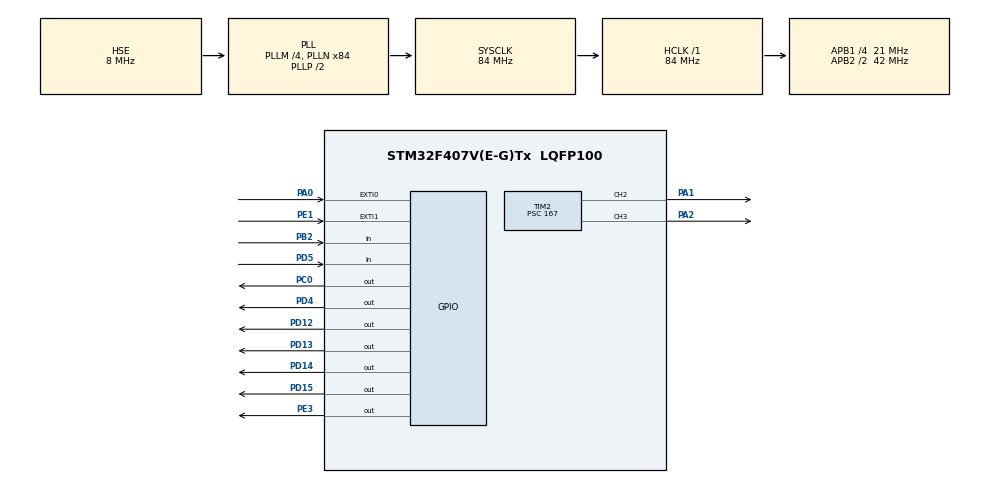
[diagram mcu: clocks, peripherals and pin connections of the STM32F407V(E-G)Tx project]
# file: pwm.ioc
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Mcu.Family=STM32F4
Mcu.Name=STM32F407V(E-G)Tx
Mcu.Package=LQFP100
NVIC.PriorityGroup=NVIC_PRIORITYGROUP_0
PA0-WKUP.GPIO_ModeDefaultEXTI=GPIO_MODE_IT_RISING
PA0-WKUP.GPIO_PuPd=GPIO_NOPULL
PA0-WKUP.Signal=GPXTI0
PA1.GPIO_ModeDefaultPP=GPIO_MODE_AF_PP
PA1.GPIO_PuPd=GPIO_NOPULL
PA1.GPIO_Speed=GPIO_SPEED_FREQ_LOW
PA1.Signal=S_TIM2_CH2
PA10.GPIO_Mode=GPIO_MODE_AF_PP
PA10.GPIO_PuPd=GPIO_NOPULL
PA10.GPIO_Speed=GPIO_SPEED_FREQ_VERY_HIGH
PA10.Signal=USB_OTG_FS_ID
PA11.GPIO_Mode=GPIO_MODE_AF_PP
PA11.GPIO_PuPd=GPIO_NOPULL
PA11.GPIO_Speed=GPIO_SPEED_FREQ_VERY_HIGH
PA11.Signal=USB_OTG_FS_DM
PA12.GPIO_Mode=GPIO_MODE_AF_PP
PA12.GPIO_PuPd=GPIO_NOPULL
PA12.GPIO_Speed=GPIO_SPEED_FREQ_VERY_HIGH
PA12.Signal=USB_OTG_FS_DP
PA13.Mode=Serial_Wire
PA13.Signal=SYS_JTMS-SWDIO
PA14.Mode=Serial_Wire
PA14.Signal=SYS_JTCK-SWCLK
PA2.GPIO_ModeDefaultPP=GPIO_MODE_AF_PP
PA2.GPIO_PuPd=GPIO_NOPULL
PA2.GPIO_Speed=GPIO_SPEED_FREQ_LOW
PA2.Signal=S_TIM2_CH3
PA4.GPIO_Mode=GPIO_MODE_AF_PP
PA4.GPIO_PuPd=GPIO_NOPULL
PA4.GPIO_Speed=GPIO_SPEED_FREQ_LOW
PA4.Signal=I2S3_WS
PA5.GPIO_Mode=GPIO_MODE_AF_PP
PA5.GPIO_PuPd=GPIO_NOPULL
PA5.GPIO_Speed=GPIO_SPEED_FREQ_VERY_HIGH
PA5.Signal=SPI1_SCK
PA6.GPIO_Mode=GPIO_MODE_AF_PP
PA6.GPIO_PuPd=GPIO_NOPULL
PA6.GPIO_Speed=GPIO_SPEED_FREQ_VERY_HIGH
PA6.Signal=SPI1_MISO
PA7.GPIO_Mode=GPIO_MODE_AF_PP
PA7.GPIO_PuPd=GPIO_NOPULL
PA7.GPIO_Speed=GPIO_SPEED_FREQ_VERY_HIGH
PA7.Signal=SPI1_MOSI
PA9.GPIO_Mode=GPIO_MODE_INPUT
PA9.GPIO_PuPd=GPIO_NOPULL
PA9.Signal=USB_OTG_FS_VBUS
PB10.GPIO_Mode=GPIO_MODE_AF_PP
PB10.GPIO_PuPd=GPIO_NOPULL
PB10.GPIO_Speed=GPIO_SPEED_FREQ_LOW
PB10.Signal=I2S2_CK
PB2.GPIO_Mode=GPIO_MODE_INPUT
PB2.GPIO_PuPd=GPIO_NOPULL
PB2.Signal=GPIO_Input
PB3.Signal=SYS_JTDO-SWO
PB6.GPIO_Mode=GPIO_MODE_AF_OD
PB6.GPIO_PuPd=GPIO_NOPULL
PB6.GPIO_PuPdOD=GPIO_PULLUP
PB6.GPIO_Speed=GPIO_SPEED_FREQ_VERY_HIGH
PB6.Signal=I2C1_SCL
PB9.GPIO_Mode=GPIO_MODE_AF_OD
PB9.GPIO_PuPd=GPIO_NOPULL
PB9.GPIO_PuPdOD=GPIO_PULLUP
PB9.GPIO_Speed=GPIO_SPEED_FREQ_VERY_HIGH
PB9.Signal=I2C1_SDA
PC0.GPIO_ModeDefaultOutputPP=GPIO_MODE_OUTPUT_PP
PC0.GPIO_PuPd=GPIO_NOPULL
PC0.GPIO_Speed=GPIO_SPEED_FREQ_LOW
PC0.PinState=GPIO_PIN_RESET
PC0.Signal=GPIO_Output
PC10.GPIO_Mode=GPIO_MODE_AF_PP
PC10.GPIO_PuPd=GPIO_NOPULL
PC10.GPIO_Speed=GPIO_SPEED_FREQ_LOW
PC10.Signal=I2S3_CK
PC12.GPIO_Mode=GPIO_MODE_AF_PP
PC12.GPIO_PuPd=GPIO_NOPULL
PC12.GPIO_Speed=GPIO_SPEED_FREQ_LOW
PC12.Signal=I2S3_SD
PC14-OSC32_IN.Signal=RCC_OSC32_IN
PC15-OSC32_OUT.Signal=RCC_OSC32_OUT
PC3.GPIO_Mode=GPIO_MODE_AF_PP
PC3.GPIO_PuPd=GPIO_NOPULL
PC3.GPIO_Speed=GPIO_SPEED_FREQ_LOW
PC3.Signal=I2S2_SD
PC7.GPIO_Mode=GPIO_MODE_AF_PP
PC7.GPIO_PuPd=GPIO_NOPULL
PC7.GPIO_Speed=GPIO_SPEED_FREQ_LOW
PC7.Signal=I2S3_MCK
PD12.GPIO_ModeDefaultOutputPP=GPIO_MODE_OUTPUT_PP
PD12.GPIO_PuPd=GPIO_NOPULL
PD12.GPIO_Speed=GPIO_SPEED_FREQ_LOW
PD12.PinState=GPIO_PIN_RESET
PD12.Signal=GPIO_Output
PD13.GPIO_ModeDefaultOutputPP=GPIO_MODE_OUTPUT_PP
PD13.GPIO_PuPd=GPIO_NOPULL
PD13.GPIO_Speed=GPIO_SPEED_FREQ_LOW
PD13.PinState=GPIO_PIN_RESET
PD13.Signal=GPIO_Output
PD14.GPIO_ModeDefaultOutputPP=GPIO_MODE_OUTPUT_PP
PD14.GPIO_PuPd=GPIO_NOPULL
PD14.GPIO_Speed=GPIO_SPEED_FREQ_LOW
PD14.PinState=GPIO_PIN_RESET
PD14.Signal=GPIO_Output
PD15.GPIO_ModeDefaultOutputPP=GPIO_MODE_OUTPUT_PP
PD15.GPIO_PuPd=GPIO_NOPULL
PD15.GPIO_Speed=GPIO_SPEED_FREQ_LOW
PD15.PinState=GPIO_PIN_RESET
PD15.Signal=GPIO_Output
PD4.GPIO_ModeDefaultOutputPP=GPIO_MODE_OUTPUT_PP
PD4.GPIO_PuPd=GPIO_NOPULL
PD4.GPIO_Speed=GPIO_SPEED_FREQ_LOW
PD4.PinState=GPIO_PIN_RESET
PD4.Signal=GPIO_Output
PD5.GPIO_Mode=GPIO_MODE_INPUT
PD5.GPIO_PuPd=GPIO_NOPULL
PD5.Signal=GPIO_Input
PE1.GPIO_ModeDefaultEXTI=GPIO_MODE_IT_RISING
PE1.GPIO_PuPd=GPIO_NOPULL
PE1.Signal=GPXTI1
PE3.GPIO_ModeDefaultOutputPP=GPIO_MODE_OUTPUT_PP
PE3.GPIO_PuPd=GPIO_NOPULL
PE3.GPIO_Speed=GPIO_SPEED_FREQ_LOW
PE3.PinState=GPIO_PIN_RESET
PE3.Signal=GPIO_Output
PH0-OSC_IN.Mode=HSE-External-Clock-Source
PH0-OSC_IN.Signal=RCC_OSC_IN
PH1-OSC_OUT.Mode=HSE-External-Clock-Source
PH1-OSC_OUT.Signal=RCC_OSC_OUT
ProjectManager.HeapSize=0x200
ProjectManager.StackSize=0x400
ProjectManager.TargetToolchain=MDK-ARM V5
RCC.48MHZClocksFreq_Value=24000000
RCC.AHBFreq_Value=84000000
RCC.APB1CLKDivider=RCC_HCLK_DIV4
RCC.APB1Freq_Value=21000000
RCC.APB1TimFreq_Value=42000000
RCC.APB2CLKDivider=RCC_HCLK_DIV2
RCC.APB2Freq_Value=42000000
RCC.APB2TimFreq_Value=84000000
RCC.CortexFreq_Value=84000000
RCC.HCLKFreq_Value=84000000
RCC.HSE_VALUE=8000000
RCC.HSI_VALUE=16000000
RCC.LSE_VALUE=32768
RCC.PLLM=4
RCC.PLLN=84
RCC.PLLQ=7
RCC.PLLSourceVirtual=RCC_PLLSOURCE_HSE
RCC.SYSCLKFreq_VALUE=84000000
RCC.SYSCLKSource=RCC_SYSCLKSOURCE_PLLCLK
RCC.VCOOutputFreq_Value=168000000
SH.S_TIM2_CH2.0=TIM2_CH2,PWM Generation2 CH2
SH.S_TIM2_CH3.0=TIM2_CH3,PWM Generation3 CH3
TIM2.Channel-PWM\ Generation2\ CH2=TIM_CHANNEL_2
TIM2.Channel-PWM\ Generation3\ CH3=TIM_CHANNEL_3
TIM2.Period=19999
TIM2.Prescaler=167
board=STM32F4DISCOVERY

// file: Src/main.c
/* USER CODE BEGIN Header */
/**
  ******************************************************************************
  * @file           : main.c
  * @brief          : Main program body
  ******************************************************************************
  * @attention
  *
  * <h2><center>&copy; Copyright (c) 2019 STMicroelectronics.
  * All rights reserved.</center></h2>
  *
  * This software component is licensed by ST under BSD 3-Clause license,
  * the "License"; You may not use this file except in compliance with the
  * License. You may obtain a copy of the License at:
  *                        opensource.org/licenses/BSD-3-Clause
  *
  ******************************************************************************
  */
/* USER CODE END Header */

#include "main.h"
#include "tim.h"
#include "gpio.h"

/* USER CODE BEGIN PD */
#define SERVO_180 20000
#define SERVO_0 1800
/* USER CODE END PD */

void SystemClock_Config(void);
/* USER CODE BEGIN PFP */
void turn_left(void);
void turn_right(void);
/* USER CODE END PFP */

/* USER CODE BEGIN 0 */
void set_pos(uint8_t pos) {
  uint32_t tmp=(SERVO_180 - SERVO_0) /180 ;
  TIM2->CCR2 = SERVO_0 + tmp * pos;
}

void set_pos2(uint8_t pos) {
  uint32_t tmp=(SERVO_180 - SERVO_0) /180 ;
  TIM2->CCR2 = SERVO_0 - tmp * pos;
}

void delay(void) {
  volatile uint32_t i;
  for (i=1; i != 0xFFFF; i++)
    ;
 }
/* USER CODE END 0 */

int main(void)
{

  /* MCU Configuration--------------------------------------------------------*/

  /* Reset of all peripherals, Initializes the Flash interface and the Systick. */
  HAL_Init();

  /* Configure the system clock */
  SystemClock_Config();

  /* Initialize all configured peripherals */
  MX_GPIO_Init();
  MX_TIM2_Init();
  /* USER CODE BEGIN 2 */
  HAL_TIM_PWM_Start(&htim2, TIM_CHANNEL_2);
  TIM2->CCR2 = 0;
  HAL_Delay(1000);
  /* USER CODE END 2 */

  /* Infinite loop */
  /* USER CODE BEGIN WHILE */
  while (1)
  {
    turn_left();
    turn_right();
//    TIM2->CCR2 = 1250;
//    HAL_Delay(300);
//    TIM2->CCR2 = 300;
//    HAL_Delay(300);
    /* USER CODE END WHILE */

  }
}

void SystemClock_Config(void)
{
  RCC_OscInitTypeDef RCC_OscInitStruct = {0};
  RCC_ClkInitTypeDef RCC_ClkInitStruct = {0};

  /** Configure the main internal regulator output voltage
  */
  __HAL_RCC_PWR_CLK_ENABLE();
  __HAL_PWR_VOLTAGESCALING_CONFIG(PWR_REGULATOR_VOLTAGE_SCALE1);
  /** Initializes the CPU, AHB and APB busses clocks
  */
  RCC_OscInitStruct.OscillatorType = RCC_OSCILLATORTYPE_HSE;
  RCC_OscInitStruct.HSEState = RCC_HSE_BYPASS;
  RCC_OscInitStruct.PLL.PLLState = RCC_PLL_ON;
  RCC_OscInitStruct.PLL.PLLSource = RCC_PLLSOURCE_HSE;
  RCC_OscInitStruct.PLL.PLLM = 4;
  RCC_OscInitStruct.PLL.PLLN = 84;
  RCC_OscInitStruct.PLL.PLLP = RCC_PLLP_DIV2;
  RCC_OscInitStruct.PLL.PLLQ = 7;
  if (HAL_RCC_OscConfig(&RCC_OscInitStruct) != HAL_OK)
  {
    Error_Handler();
  }
  /** Initializes the CPU, AHB and APB busses clocks
  */
  RCC_ClkInitStruct.ClockType = RCC_CLOCKTYPE_HCLK|RCC_CLOCKTYPE_SYSCLK
                              |RCC_CLOCKTYPE_PCLK1|RCC_CLOCKTYPE_PCLK2;
  RCC_ClkInitStruct.SYSCLKSource = RCC_SYSCLKSOURCE_PLLCLK;
  RCC_ClkInitStruct.AHBCLKDivider = RCC_SYSCLK_DIV1;
  RCC_ClkInitStruct.APB1CLKDivider = RCC_HCLK_DIV4;
  RCC_ClkInitStruct.APB2CLKDivider = RCC_HCLK_DIV2;

  if (HAL_RCC_ClockConfig(&RCC_ClkInitStruct, FLASH_LATENCY_2) != HAL_OK)
  {
    Error_Handler();
  }
}

/* USER CODE BEGIN 4 */
void turn_left(void)
{
  int i;

  for(i = 300; i <= 1250; i++)
  {
    TIM2->CCR2 = i;
    HAL_Delay(1);
  }
}

void turn_right(void)
{
  int i;

  for(i = 1250; i >= 300; i--)
  {
    TIM2->CCR2 = i;
    HAL_Delay(1);
  }
}
/* USER CODE END 4 */

void Error_Handler(void)
{
}

/************************ (C) COPYRIGHT STMicroelectronics *****END OF FILE****/
